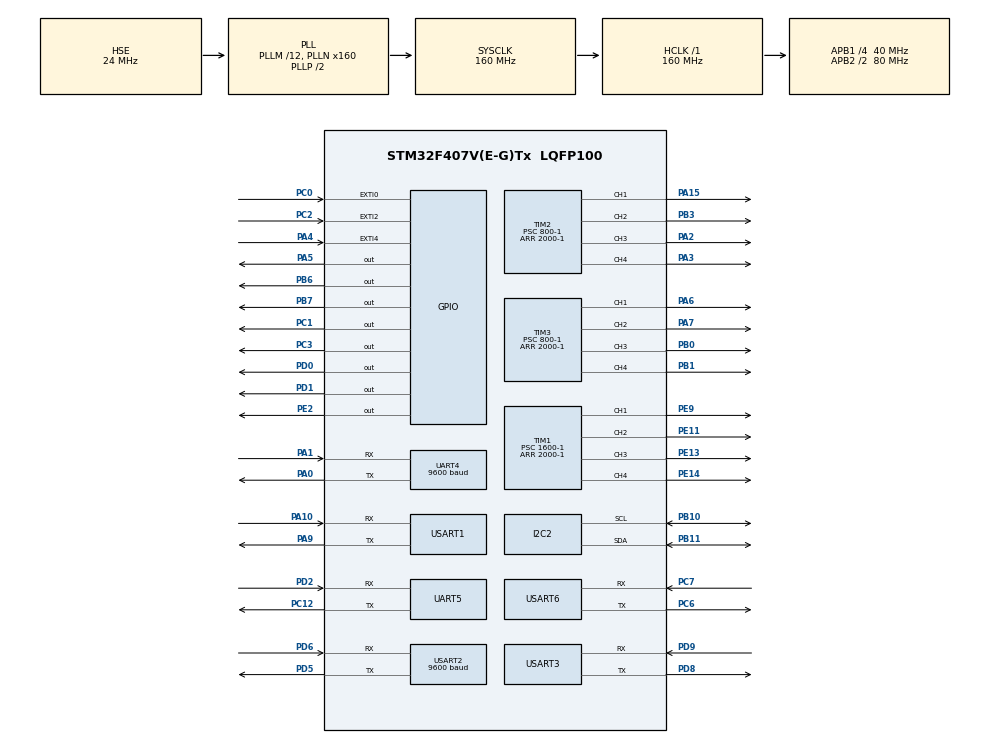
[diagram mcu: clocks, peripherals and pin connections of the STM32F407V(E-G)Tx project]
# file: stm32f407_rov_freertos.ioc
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Dma.Request0=USART1_RX
Dma.Request1=USART1_TX
Dma.Request10=UART4_RX
Dma.Request11=UART4_TX
Dma.Request2=UART5_RX
Dma.Request3=UART5_TX
Dma.Request4=USART6_RX
Dma.Request5=USART6_TX
Dma.Request6=USART2_RX
Dma.Request7=USART2_TX
Dma.Request8=USART3_RX
Dma.Request9=USART3_TX
Dma.UART4_RX.10.Direction=DMA_PERIPH_TO_MEMORY
Dma.UART4_RX.10.FIFOMode=DMA_FIFOMODE_DISABLE
Dma.UART4_RX.10.Instance=DMA1_Stream2
Dma.UART4_RX.10.MemDataAlignment=DMA_MDATAALIGN_BYTE
Dma.UART4_RX.10.MemInc=DMA_MINC_ENABLE
Dma.UART4_RX.10.Mode=DMA_NORMAL
Dma.UART4_RX.10.PeriphDataAlignment=DMA_PDATAALIGN_BYTE
Dma.UART4_RX.10.PeriphInc=DMA_PINC_DISABLE
Dma.UART4_RX.10.Priority=DMA_PRIORITY_LOW
Dma.UART4_TX.11.Direction=DMA_MEMORY_TO_PERIPH
Dma.UART4_TX.11.FIFOMode=DMA_FIFOMODE_DISABLE
Dma.UART4_TX.11.Instance=DMA1_Stream4
Dma.UART4_TX.11.MemDataAlignment=DMA_MDATAALIGN_BYTE
Dma.UART4_TX.11.MemInc=DMA_MINC_ENABLE
Dma.UART4_TX.11.Mode=DMA_NORMAL
Dma.UART4_TX.11.PeriphDataAlignment=DMA_PDATAALIGN_BYTE
Dma.UART4_TX.11.PeriphInc=DMA_PINC_DISABLE
Dma.UART4_TX.11.Priority=DMA_PRIORITY_LOW
Dma.UART5_RX.2.Direction=DMA_PERIPH_TO_MEMORY
Dma.UART5_RX.2.FIFOMode=DMA_FIFOMODE_DISABLE
Dma.UART5_RX.2.Instance=DMA1_Stream0
Dma.UART5_RX.2.MemDataAlignment=DMA_MDATAALIGN_BYTE
Dma.UART5_RX.2.MemInc=DMA_MINC_ENABLE
Dma.UART5_RX.2.Mode=DMA_NORMAL
Dma.UART5_RX.2.PeriphDataAlignment=DMA_PDATAALIGN_BYTE
Dma.UART5_RX.2.PeriphInc=DMA_PINC_DISABLE
Dma.UART5_RX.2.Priority=DMA_PRIORITY_LOW
Dma.UART5_TX.3.Direction=DMA_MEMORY_TO_PERIPH
Dma.UART5_TX.3.FIFOMode=DMA_FIFOMODE_DISABLE
Dma.UART5_TX.3.Instance=DMA1_Stream7
Dma.UART5_TX.3.MemDataAlignment=DMA_MDATAALIGN_BYTE
Dma.UART5_TX.3.MemInc=DMA_MINC_ENABLE
Dma.UART5_TX.3.Mode=DMA_NORMAL
Dma.UART5_TX.3.PeriphDataAlignment=DMA_PDATAALIGN_BYTE
Dma.UART5_TX.3.PeriphInc=DMA_PINC_DISABLE
Dma.UART5_TX.3.Priority=DMA_PRIORITY_LOW
Dma.USART1_RX.0.Direction=DMA_PERIPH_TO_MEMORY
Dma.USART1_RX.0.FIFOMode=DMA_FIFOMODE_DISABLE
Dma.USART1_RX.0.Instance=DMA2_Stream2
Dma.USART1_RX.0.MemDataAlignment=DMA_MDATAALIGN_BYTE
Dma.USART1_RX.0.MemInc=DMA_MINC_ENABLE
Dma.USART1_RX.0.Mode=DMA_NORMAL
Dma.USART1_RX.0.PeriphDataAlignment=DMA_PDATAALIGN_BYTE
Dma.USART1_RX.0.PeriphInc=DMA_PINC_DISABLE
Dma.USART1_RX.0.Priority=DMA_PRIORITY_LOW
Dma.USART1_TX.1.Direction=DMA_MEMORY_TO_PERIPH
Dma.USART1_TX.1.FIFOMode=DMA_FIFOMODE_DISABLE
Dma.USART1_TX.1.Instance=DMA2_Stream7
Dma.USART1_TX.1.MemDataAlignment=DMA_MDATAALIGN_BYTE
Dma.USART1_TX.1.MemInc=DMA_MINC_ENABLE
Dma.USART1_TX.1.Mode=DMA_NORMAL
Dma.USART1_TX.1.PeriphDataAlignment=DMA_PDATAALIGN_BYTE
Dma.USART1_TX.1.PeriphInc=DMA_PINC_DISABLE
Dma.USART1_TX.1.Priority=DMA_PRIORITY_LOW
Dma.USART2_RX.6.Direction=DMA_PERIPH_TO_MEMORY
Dma.USART2_RX.6.FIFOMode=DMA_FIFOMODE_DISABLE
Dma.USART2_RX.6.Instance=DMA1_Stream5
Dma.USART2_RX.6.MemDataAlignment=DMA_MDATAALIGN_BYTE
Dma.USART2_RX.6.MemInc=DMA_MINC_ENABLE
Dma.USART2_RX.6.Mode=DMA_NORMAL
Dma.USART2_RX.6.PeriphDataAlignment=DMA_PDATAALIGN_BYTE
Dma.USART2_RX.6.PeriphInc=DMA_PINC_DISABLE
Dma.USART2_RX.6.Priority=DMA_PRIORITY_LOW
Dma.USART2_TX.7.Direction=DMA_MEMORY_TO_PERIPH
Dma.USART2_TX.7.FIFOMode=DMA_FIFOMODE_DISABLE
Dma.USART2_TX.7.Instance=DMA1_Stream6
Dma.USART2_TX.7.MemDataAlignment=DMA_MDATAALIGN_BYTE
Dma.USART2_TX.7.MemInc=DMA_MINC_ENABLE
Dma.USART2_TX.7.Mode=DMA_NORMAL
Dma.USART2_TX.7.PeriphDataAlignment=DMA_PDATAALIGN_BYTE
Dma.USART2_TX.7.PeriphInc=DMA_PINC_DISABLE
Dma.USART2_TX.7.Priority=DMA_PRIORITY_LOW
Dma.USART3_RX.8.Direction=DMA_PERIPH_TO_MEMORY
Dma.USART3_RX.8.FIFOMode=DMA_FIFOMODE_DISABLE
Dma.USART3_RX.8.Instance=DMA1_Stream1
Dma.USART3_RX.8.MemDataAlignment=DMA_MDATAALIGN_BYTE
Dma.USART3_RX.8.MemInc=DMA_MINC_ENABLE
Dma.USART3_RX.8.Mode=DMA_NORMAL
Dma.USART3_RX.8.PeriphDataAlignment=DMA_PDATAALIGN_BYTE
Dma.USART3_RX.8.PeriphInc=DMA_PINC_DISABLE
Dma.USART3_RX.8.Priority=DMA_PRIORITY_LOW
Dma.USART3_TX.9.Direction=DMA_MEMORY_TO_PERIPH
Dma.USART3_TX.9.FIFOMode=DMA_FIFOMODE_DISABLE
Dma.USART3_TX.9.Instance=DMA1_Stream3
Dma.USART3_TX.9.MemDataAlignment=DMA_MDATAALIGN_BYTE
Dma.USART3_TX.9.MemInc=DMA_MINC_ENABLE
Dma.USART3_TX.9.Mode=DMA_NORMAL
Dma.USART3_TX.9.PeriphDataAlignment=DMA_PDATAALIGN_BYTE
Dma.USART3_TX.9.PeriphInc=DMA_PINC_DISABLE
Dma.USART3_TX.9.Priority=DMA_PRIORITY_LOW
Dma.USART6_RX.4.Direction=DMA_PERIPH_TO_MEMORY
Dma.USART6_RX.4.FIFOMode=DMA_FIFOMODE_DISABLE
Dma.USART6_RX.4.Instance=DMA2_Stream1
Dma.USART6_RX.4.MemDataAlignment=DMA_MDATAALIGN_BYTE
Dma.USART6_RX.4.MemInc=DMA_MINC_ENABLE
Dma.USART6_RX.4.Mode=DMA_NORMAL
Dma.USART6_RX.4.PeriphDataAlignment=DMA_PDATAALIGN_BYTE
Dma.USART6_RX.4.PeriphInc=DMA_PINC_DISABLE
Dma.USART6_RX.4.Priority=DMA_PRIORITY_LOW
Dma.USART6_TX.5.Direction=DMA_MEMORY_TO_PERIPH
Dma.USART6_TX.5.FIFOMode=DMA_FIFOMODE_DISABLE
Dma.USART6_TX.5.Instance=DMA2_Stream6
Dma.USART6_TX.5.MemDataAlignment=DMA_MDATAALIGN_BYTE
Dma.USART6_TX.5.MemInc=DMA_MINC_ENABLE
Dma.USART6_TX.5.Mode=DMA_NORMAL
Dma.USART6_TX.5.PeriphDataAlignment=DMA_PDATAALIGN_BYTE
Dma.USART6_TX.5.PeriphInc=DMA_PINC_DISABLE
Dma.USART6_TX.5.Priority=DMA_PRIORITY_LOW
FREERTOS.Tasks01=defaultTask,24,128,StartDefaultTask,Default,NULL,Dynamic,NULL,NULL;Cycle_led,8,128,Cycle_led_Task,Default,NULL,Dynamic,NULL,NULL
Mcu.Family=STM32F4
Mcu.Name=STM32F407V(E-G)Tx
Mcu.Package=LQFP100
NVIC.DMA1_Stream0_IRQn=true\:5\:0\:false\:false\:true\:true\:false\:true\:true
NVIC.DMA1_Stream1_IRQn=true\:5\:0\:false\:false\:true\:true\:false\:true\:true
NVIC.DMA1_Stream2_IRQn=true\:5\:0\:false\:false\:true\:true\:false\:true\:true
NVIC.DMA1_Stream3_IRQn=true\:5\:0\:false\:false\:true\:true\:false\:true\:true
NVIC.DMA1_Stream4_IRQn=true\:5\:0\:false\:false\:true\:true\:false\:true\:true
NVIC.DMA1_Stream5_IRQn=true\:5\:0\:false\:false\:true\:true\:false\:true\:true
NVIC.DMA1_Stream6_IRQn=true\:5\:0\:false\:false\:true\:true\:false\:true\:true
NVIC.DMA1_Stream7_IRQn=true\:5\:0\:false\:false\:true\:true\:false\:true\:true
NVIC.DMA2_Stream1_IRQn=true\:5\:0\:false\:false\:true\:true\:false\:true\:true
NVIC.DMA2_Stream2_IRQn=true\:5\:0\:false\:false\:true\:true\:false\:true\:true
NVIC.DMA2_Stream6_IRQn=true\:5\:0\:false\:false\:true\:true\:false\:true\:true
NVIC.DMA2_Stream7_IRQn=true\:5\:0\:false\:false\:true\:true\:false\:true\:true
NVIC.PriorityGroup=NVIC_PRIORITYGROUP_4
NVIC.TIM1_TRG_COM_TIM11_IRQn=true\:5\:0\:false\:false\:true\:true\:true\:true\:true
NVIC.TIM1_UP_TIM10_IRQn=true\:5\:0\:false\:false\:true\:true\:true\:true\:true
NVIC.TIM4_IRQn=true\:5\:0\:false\:false\:true\:true\:true\:true\:true
NVIC.TIM6_DAC_IRQn=true\:15\:0\:false\:false\:true\:false\:false\:true\:true
NVIC.TimeBase=TIM6_DAC_IRQn
NVIC.TimeBaseIP=TIM6
NVIC.UART4_IRQn=true\:5\:0\:false\:false\:true\:true\:true\:true\:true
NVIC.UART5_IRQn=true\:5\:0\:false\:false\:true\:true\:false\:true\:true
NVIC.USART1_IRQn=true\:5\:0\:false\:false\:true\:true\:false\:true\:true
NVIC.USART2_IRQn=true\:5\:0\:true\:false\:true\:true\:false\:true\:true
NVIC.USART3_IRQn=true\:5\:0\:true\:false\:true\:true\:false\:true\:true
NVIC.USART6_IRQn=true\:5\:0\:false\:false\:true\:true\:false\:true\:true
PA0-WKUP.Mode=Asynchronous
PA0-WKUP.Signal=UART4_TX
PA1.Mode=Asynchronous
PA1.Signal=UART4_RX
PA10.Mode=Asynchronous
PA10.Signal=USART1_RX
PA13.Mode=Serial_Wire
PA13.Signal=SYS_JTMS-SWDIO
PA14.Mode=Serial_Wire
PA14.Signal=SYS_JTCK-SWCLK
PA15.Signal=S_TIM2_CH1_ETR
PA2.Signal=S_TIM2_CH3
PA3.Signal=S_TIM2_CH4
PA4.GPIO_ModeDefaultEXTI=GPIO_MODE_IT_FALLING
PA4.GPIO_PuPd=GPIO_PULLUP
PA4.Signal=GPXTI4
PA5.GPIO_ModeDefaultOutputPP=GPIO_MODE_OUTPUT_PP
PA5.GPIO_PuPd=GPIO_PULLUP
PA5.PinState=GPIO_PIN_SET
PA5.Signal=GPIO_Output
PA6.Signal=S_TIM3_CH1
PA7.Signal=S_TIM3_CH2
PA9.Mode=Asynchronous
PA9.Signal=USART1_TX
PB0.Signal=S_TIM3_CH3
PB1.Signal=S_TIM3_CH4
PB10.Mode=I2C
PB10.Signal=I2C2_SCL
PB11.Mode=I2C
PB11.Signal=I2C2_SDA
PB3.Signal=S_TIM2_CH2
PB6.Signal=GPIO_Output
PB7.Signal=GPIO_Output
PC0.GPIO_ModeDefaultEXTI=GPIO_MODE_IT_FALLING
PC0.GPIO_PuPd=GPIO_PULLUP
PC0.Signal=GPXTI0
PC1.GPIO_PuPd=GPIO_PULLUP
PC1.PinState=GPIO_PIN_SET
PC1.Signal=GPIO_Output
PC12.Mode=Asynchronous
PC12.Signal=UART5_TX
PC14-OSC32_IN.Mode=LSE-External-Oscillator
PC14-OSC32_IN.Signal=RCC_OSC32_IN
PC15-OSC32_OUT.Mode=LSE-External-Oscillator
PC15-OSC32_OUT.Signal=RCC_OSC32_OUT
PC2.GPIO_ModeDefaultEXTI=GPIO_MODE_IT_FALLING
PC2.GPIO_PuPd=GPIO_PULLUP
PC2.Signal=GPXTI2
PC3.GPIO_PuPd=GPIO_PULLUP
PC3.PinState=GPIO_PIN_SET
PC3.Signal=GPIO_Output
PC6.Mode=Asynchronous
PC6.Signal=USART6_TX
PC7.Mode=Asynchronous
PC7.Signal=USART6_RX
PD0.PinState=GPIO_PIN_SET
PD0.Signal=GPIO_Output
PD1.GPIO_PuPd=GPIO_NOPULL
PD1.PinState=GPIO_PIN_RESET
PD1.Signal=GPIO_Output
PD2.Mode=Asynchronous
PD2.Signal=UART5_RX
PD5.Mode=Asynchronous
PD5.Signal=USART2_TX
PD6.Mode=Asynchronous
PD6.Signal=USART2_RX
PD8.Mode=Asynchronous
PD8.Signal=USART3_TX
PD9.Mode=Asynchronous
PD9.Signal=USART3_RX
PE11.Signal=S_TIM1_CH2
PE13.Signal=S_TIM1_CH3
PE14.Signal=S_TIM1_CH4
PE2.Signal=GPIO_Output
PE9.Signal=S_TIM1_CH1
PH0-OSC_IN.Mode=HSE-External-Oscillator
PH0-OSC_IN.Signal=RCC_OSC_IN
PH1-OSC_OUT.Mode=HSE-External-Oscillator
PH1-OSC_OUT.Signal=RCC_OSC_OUT
ProjectManager.HeapSize=0x200
ProjectManager.StackSize=0x400
ProjectManager.TargetToolchain=MDK-ARM V5.32
RCC.48MHZClocksFreq_Value=80000000
RCC.AHBFreq_Value=160000000
RCC.APB1CLKDivider=RCC_HCLK_DIV4
RCC.APB1Freq_Value=40000000
RCC.APB1TimFreq_Value=80000000
RCC.APB2CLKDivider=RCC_HCLK_DIV2
RCC.APB2Freq_Value=80000000
RCC.APB2TimFreq_Value=160000000
RCC.CortexFreq_Value=160000000
RCC.HCLKFreq_Value=160000000
RCC.HSE_VALUE=24000000
RCC.HSI_VALUE=16000000
RCC.PLLM=12
RCC.PLLN=160
RCC.PLLSourceVirtual=RCC_PLLSOURCE_HSE
RCC.SYSCLKFreq_VALUE=160000000
RCC.SYSCLKSource=RCC_SYSCLKSOURCE_PLLCLK
RCC.VCOOutputFreq_Value=320000000
SH.S_TIM1_CH1.0=TIM1_CH1,PWM Generation1 CH1
SH.S_TIM1_CH2.0=TIM1_CH2,PWM Generation2 CH2
SH.S_TIM1_CH3.0=TIM1_CH3,PWM Generation3 CH3
SH.S_TIM1_CH4.0=TIM1_CH4,PWM Generation4 CH4
SH.S_TIM2_CH1_ETR.0=TIM2_CH1,PWM Generation1 CH1
SH.S_TIM2_CH2.0=TIM2_CH2,PWM Generation2 CH2
SH.S_TIM2_CH3.0=TIM2_CH3,PWM Generation3 CH3
SH.S_TIM2_CH4.0=TIM2_CH4,PWM Generation4 CH4
SH.S_TIM3_CH1.0=TIM3_CH1,PWM Generation1 CH1
SH.S_TIM3_CH2.0=TIM3_CH2,PWM Generation2 CH2
SH.S_TIM3_CH3.0=TIM3_CH3,PWM Generation3 CH3
SH.S_TIM3_CH4.0=TIM3_CH4,PWM Generation4 CH4
TIM1.Channel-PWM\ Generation1\ CH1=TIM_CHANNEL_1
TIM1.Channel-PWM\ Generation2\ CH2=TIM_CHANNEL_2
TIM1.Channel-PWM\ Generation3\ CH3=TIM_CHANNEL_3
TIM1.Channel-PWM\ Generation4\ CH4=TIM_CHANNEL_4
TIM1.Period=2000-1
TIM1.Prescaler=1600-1
TIM1.Pulse-PWM\ Generation1\ CH1=0
TIM1.Pulse-PWM\ Generation2\ CH2=0
TIM1.Pulse-PWM\ Generation3\ CH3=0
TIM1.Pulse-PWM\ Generation4\ CH4=0
TIM2.Channel-PWM\ Generation1\ CH1=TIM_CHANNEL_1
TIM2.Channel-PWM\ Generation2\ CH2=TIM_CHANNEL_2
TIM2.Channel-PWM\ Generation3\ CH3=TIM_CHANNEL_3
TIM2.Channel-PWM\ Generation4\ CH4=TIM_CHANNEL_4
TIM2.Period=2000-1
TIM2.Prescaler=800-1
TIM2.Pulse-PWM\ Generation1\ CH1=0
TIM2.Pulse-PWM\ Generation2\ CH2=0
TIM2.Pulse-PWM\ Generation3\ CH3=0
TIM2.Pulse-PWM\ Generation4\ CH4=0
TIM3.Channel-PWM\ Generation1\ CH1=TIM_CHANNEL_1
TIM3.Channel-PWM\ Generation2\ CH2=TIM_CHANNEL_2
TIM3.Channel-PWM\ Generation3\ CH3=TIM_CHANNEL_3
TIM3.Channel-PWM\ Generation4\ CH4=TIM_CHANNEL_4
TIM3.Period=2000-1
TIM3.Prescaler=800-1
TIM3.Pulse-PWM\ Generation1\ CH1=0
TIM3.Pulse-PWM\ Generation2\ CH2=0
TIM3.Pulse-PWM\ Generation3\ CH3=0
TIM4.Period=69
TIM4.Prescaler=0
UART4.BaudRate=9600
UART4.VirtualMode=Asynchronous
UART5.VirtualMode=Asynchronous
USART1.VirtualMode=VM_ASYNC
USART2.BaudRate=9600
USART2.VirtualMode=VM_ASYNC
USART3.VirtualMode=VM_ASYNC
USART6.VirtualMode=VM_ASYNC
VP_FREERTOS_VS_CMSIS_V2.Mode=CMSIS_V2
VP_SYS_VS_tim6.Mode=TIM6
VP_TIM1_VS_ClockSourceINT.Mode=Internal
VP_TIM2_VS_ClockSourceINT.Mode=Internal
VP_TIM3_VS_ClockSourceINT.Mode=Internal
VP_TIM4_VS_ClockSourceINT.Mode=Internal
board=custom

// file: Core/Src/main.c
/* USER CODE BEGIN Header */
/**
  ******************************************************************************
  * @file           : main.c
  * @brief          : Main program body
  ******************************************************************************
  * @attention
  *
  * Copyright (c) 2025 STMicroelectronics.
  * All rights reserved.
  *
  * This software is licensed under terms that can be found in the LICENSE file
  * in the root directory of this software component.
  * If no LICENSE file comes with this software, it is provided AS-IS.
  *
  ******************************************************************************
  */
/* USER CODE END Header */
#include "main.h"
#include "cmsis_os.h"
#include "dma.h"
#include "i2c.h"
#include "tim.h"
#include "usart.h"
#include "gpio.h"

/* USER CODE BEGIN Includes */
#include "move_drv.h"
#include "move_control.h"
#include "shtc3.h"
#include "move_drv.h"
#include "jy901p_uart.h"

/* USER CODE END Includes */

void SystemClock_Config(void);
void MX_FREERTOS_Init(void);

int main(void)
{

  /* MCU Configuration--------------------------------------------------------*/

  /* Reset of all peripherals, Initializes the Flash interface and the Systick. */
  HAL_Init();

  /* Configure the system clock */
  SystemClock_Config();

  /* Initialize all configured peripherals */
  MX_GPIO_Init();
  MX_DMA_Init();
  MX_USART1_UART_Init();
  MX_UART4_Init();
  MX_UART5_Init();
  MX_USART2_UART_Init();
  MX_USART3_UART_Init();
  MX_USART6_UART_Init();
  MX_I2C2_Init();
  MX_TIM1_Init();
  MX_TIM2_Init();
  MX_TIM3_Init();
  MX_TIM4_Init();
  /* USER CODE BEGIN 2 */
  pwm_init(); // 初始化PWM
  light_set(0); // 设置探照灯亮度为0
  electromagnet_set(0); // 关闭电磁铁
  motor_init();//电机解锁
  Sthc3SensorI2c_Init();

  /* USER CODE END 2 */

  /* Init scheduler */
  osKernelInitialize();

  /* Call init function for freertos objects (in cmsis_os2.c) */
  MX_FREERTOS_Init();

  /* Start scheduler */
  osKernelStart();

  /* We should never get here as control is now taken by the scheduler */

  /* Infinite loop */
  while (1)
  {

  }
}

void SystemClock_Config(void)
{
  RCC_OscInitTypeDef RCC_OscInitStruct = {0};
  RCC_ClkInitTypeDef RCC_ClkInitStruct = {0};

  /** Configure the main internal regulator output voltage
  */
  __HAL_RCC_PWR_CLK_ENABLE();
  __HAL_PWR_VOLTAGESCALING_CONFIG(PWR_REGULATOR_VOLTAGE_SCALE1);

  /** Initializes the RCC Oscillators according to the specified parameters
  * in the RCC_OscInitTypeDef structure.
  */
  RCC_OscInitStruct.OscillatorType = RCC_OSCILLATORTYPE_HSE;
  RCC_OscInitStruct.HSEState = RCC_HSE_ON;
  RCC_OscInitStruct.PLL.PLLState = RCC_PLL_ON;
  RCC_OscInitStruct.PLL.PLLSource = RCC_PLLSOURCE_HSE;
  RCC_OscInitStruct.PLL.PLLM = 12;
  RCC_OscInitStruct.PLL.PLLN = 160;
  RCC_OscInitStruct.PLL.PLLP = RCC_PLLP_DIV2;
  RCC_OscInitStruct.PLL.PLLQ = 4;
  if (HAL_RCC_OscConfig(&RCC_OscInitStruct) != HAL_OK)
  {
    Error_Handler();
  }

  /** Initializes the CPU, AHB and APB buses clocks
  */
  RCC_ClkInitStruct.ClockType = RCC_CLOCKTYPE_HCLK|RCC_CLOCKTYPE_SYSCLK
                              |RCC_CLOCKTYPE_PCLK1|RCC_CLOCKTYPE_PCLK2;
  RCC_ClkInitStruct.SYSCLKSource = RCC_SYSCLKSOURCE_PLLCLK;
  RCC_ClkInitStruct.AHBCLKDivider = RCC_SYSCLK_DIV1;
  RCC_ClkInitStruct.APB1CLKDivider = RCC_HCLK_DIV4;
  RCC_ClkInitStruct.APB2CLKDivider = RCC_HCLK_DIV2;

  if (HAL_RCC_ClockConfig(&RCC_ClkInitStruct, FLASH_LATENCY_5) != HAL_OK)
  {
    Error_Handler();
  }
}

/* USER CODE BEGIN 4 */
#include "move_control.h"
#include "FreeRTOS.h"
#include "semphr.h"
/* USER CODE END 4 */

void HAL_TIM_PeriodElapsedCallback(TIM_HandleTypeDef *htim)
{
  if (htim->Instance == TIM6) {
    HAL_IncTick();
  }
}

void Error_Handler(void)
{
  __disable_irq();
  while (1)
  {
  }
}

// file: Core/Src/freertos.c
/* USER CODE BEGIN Header */
/**
  ******************************************************************************
  * File Name          : freertos.c
  * Description        : Code for freertos applications
  ******************************************************************************
  * @attention
  *
  * Copyright (c) 2025 STMicroelectronics.
  * All rights reserved.
  *
  * This software is licensed under terms that can be found in the LICENSE file
  * in the root directory of this software component.
  * If no LICENSE file comes with this software, it is provided AS-IS.
  *
  ******************************************************************************
  */
/* USER CODE END Header */

#include "FreeRTOS.h"
#include "task.h"
#include "main.h"
#include "cmsis_os.h"

/* USER CODE BEGIN Includes */
#include "jy901p_uart.h"
#include "chat_with_upper.h"
#include "func_uart.h"
#include "shtc3.h"
#include "move_control.h"
#include "ms5837_uart.h"
#include "move_drv.h"
#include "distance_measure.h"
#include "transmit_power_board.h"
#include "software_uart.h"
#include "sonar.h"

/* USER CODE END Includes */

/* USER CODE BEGIN Variables */
osThreadId_t view_variables_TaskHandle; // 变量观测任务句柄
osThreadId_t SendAllPack_TaskHandle; // 发送任务句柄
osThreadId_t Parse_Task_TaskHandle; // 解析上位机任务句柄
osThreadId_t Jy901p_Uart_TaskHandle; // jy901p UART任务句柄
osThreadId_t MS5837_Uart_TaskHandle; // MS5837 UART任务句柄
osThreadId_t SHTC3_IIC_TaskHandle; //SHTC3 IIC任务句柄
osThreadId_t Sonar_ProcessTaskHandle; //Sonar Process任务句柄

osThreadId_t Move_Control_TaskHandle; // 推进器控制任务句柄
// osThreadId_t Wave_Distance_Trigger_TaskHandle;//避障传感器触发任务句柄
// osThreadId_t Wave_Distance_Handle_TaskHandle;//避障传感器解析任务句柄
// osThreadId_t Send_Power_Board_TaskHandle;   //向电源板传递信息
osThreadId_t Parse_Power_Board_TaskHandle;  //处理电源板的信息

const osThreadAttr_t view_variables_attributes = {
  .name = "view_variables",
  .stack_size = 128 * 4,
  .priority = (osPriority_t) osPriorityLow,
};

const osThreadAttr_t SendAllPack_attributes = {
  .name = "SendAllPack",
  .stack_size = 128 * 4,
  .priority = (osPriority_t) osPriorityLow1,
};

const osThreadAttr_t Parse_Task_attributes = {
  .name = "Parse_Task",
  .stack_size = 128 * 4,
  .priority = (osPriority_t) osPriorityLow3,
};

const osThreadAttr_t Jy901p_Uart_attributes = {
  .name = "Jy901p_Uart",
  .stack_size = 128 * 4,
  .priority = (osPriority_t) osPriorityLow2,
};

const osThreadAttr_t MS5837_Uart_attributes = {
  .name = "MS5837_Uart",
  .stack_size = 128 * 4,
  .priority = (osPriority_t) osPriorityLow,
};

const osThreadAttr_t SHTC3_IIC_attributes = {
  .name = "SHTC3_IIC",
  .stack_size = 128 * 4,
  .priority = (osPriority_t) osPriorityLow1,
};

const osThreadAttr_t Sonar_Process_attributes = {
  .name = "Sonar_Process",
  .stack_size = 128 * 4,
  .priority = (osPriority_t) osPriorityLow2,
};

const osThreadAttr_t Move_Control_attributes = {
  .name = "Move_Control",
  .stack_size = 128 * 4,
  .priority = (osPriority_t) osPriorityLow3,
};

// const osThreadAttr_t wave_distance_trigger_attributes = {
//   .name = "wave_distance__trigger",
//   .stack_size = 128 * 4,
//   .priority = (osPriority_t) osPriorityLow3,
// };

// const osThreadAttr_t wave_distance_handle_attributes = {
//   .name = "wave_distance_handle",
//   .stack_size = 128 * 4,
//   .priority = (osPriority_t) osPriorityLow3,
// };

// const osThreadAttr_t send_power_handle_attributes = {
//   .name = "send_power_handle",
//   .stack_size = 128 * 4,
//   .priority = (osPriority_t) osPriorityLow3,
// };

const osThreadAttr_t parse_power_handle_attributes = {
  .name = "parse_power_handle",
  .stack_size = 128 * 4,
  .priority = (osPriority_t) osPriorityLow2,
};

/* USER CODE END Variables */
/* Definitions for defaultTask */
osThreadId_t defaultTaskHandle;
const osThreadAttr_t defaultTask_attributes = {
  .name = "defaultTask",
  .stack_size = 128 * 4,
  .priority = (osPriority_t) osPriorityNormal,
};
/* Definitions for Cycle_led */
osThreadId_t Cycle_ledHandle;
const osThreadAttr_t Cycle_led_attributes = {
  .name = "Cycle_led",
  .stack_size = 128 * 4,
  .priority = (osPriority_t) osPriorityLow,
};

void StartDefaultTask(void *argument);
void Cycle_led_Task(void *argument);

void MX_FREERTOS_Init(void); /* (MISRA C 2004 rule 8.1) */

void MX_FREERTOS_Init(void) {
  /* USER CODE BEGIN Init */

  Parser_Init();            // 初始化解析器
  Move_Control_Task_Init(); // 启动推进器控制任务
  Parser4_Init();           // 启动MS5837 UART解析任务
  Uart5_Parse_Init();       //电源板数据解析任务
  JY901_UART_Init();        // 启动jy901p DMA空闲检测
  sonar_init();             // 初始化超声波传感器
  //SoftUART_Init();

  /* USER CODE END Init */

  /* Create the thread(s) */
  /* creation of defaultTask */
  defaultTaskHandle = osThreadNew(StartDefaultTask, NULL, &defaultTask_attributes);

  /* creation of Cycle_led */
  Cycle_ledHandle = osThreadNew(Cycle_led_Task, NULL, &Cycle_led_attributes);

  /* USER CODE BEGIN RTOS_THREADS */
  /* add threads, ... */

  Move_Control_TaskHandle = osThreadNew(Handle_Control_Task, NULL, &Move_Control_attributes); // 启动推进器控制任务

  Jy901p_Uart_TaskHandle = osThreadNew(JY901_ProcessTask, NULL, &Jy901p_Uart_attributes); // 启动jy901p UART任务

  MS5837_Uart_TaskHandle = osThreadNew(MS5837_ProcessTask, NULL, &MS5837_Uart_attributes); // 启动MS5837 UART任务

  SHTC3_IIC_TaskHandle = osThreadNew(Sthc3SensorI2cRead_Task, NULL, &SHTC3_IIC_attributes); // 启动SHTC3  IIC任务

  Sonar_ProcessTaskHandle = osThreadNew(Sonar_Process_Task, NULL, &Sonar_Process_attributes); // 启动Sonar Process任务

  SendAllPack_TaskHandle = osThreadNew(SendAllPack_Task, NULL,&SendAllPack_attributes); // 启动发送给上位机任务

  Parse_Task_TaskHandle = osThreadNew(Parse_Task, NULL,&Parse_Task_attributes);         // 启动解析上位机数据

  view_variables_TaskHandle = osThreadNew(view_variables_Task, NULL, &view_variables_attributes);// 启动变量观测任务

  //Wave_Distance_Trigger_TaskHandle = osThreadNew(Trigger_Distance_Mearsure_Task, NULL, &wave_distance_trigger_attributes);//启动避障传感器周期性触发任务

  //Wave_Distance_Handle_TaskHandle = osThreadNew(Handle_Muart_Task,NULL,&wave_distance_handle_attributes);//启动避障传感器周期性解析任务

  //Send_Power_Board_TaskHandle = osThreadNew(switch_Process_Task,NULL,&send_power_handle_attributes);  //启动发送给电源板数据任务

  Parse_Power_Board_TaskHandle = osThreadNew(Uart5_Parse_Task,NULL,&parse_power_handle_attributes);   //启动解析电源板数据任务

  /* USER CODE END RTOS_THREADS */

}

void StartDefaultTask(void *argument)
{
  for(;;)
  {
    osDelay(1);
  }
}

void Cycle_led_Task(void *argument)
{
  /* USER CODE BEGIN Cycle_led_Task */
  /* Infinite loop */
  for(;;)
  {
    osDelay(500);
    HAL_GPIO_TogglePin(GPIOE, GPIO_PIN_2); // 切换LED状态
  }
  /* USER CODE END Cycle_led_Task */
}
